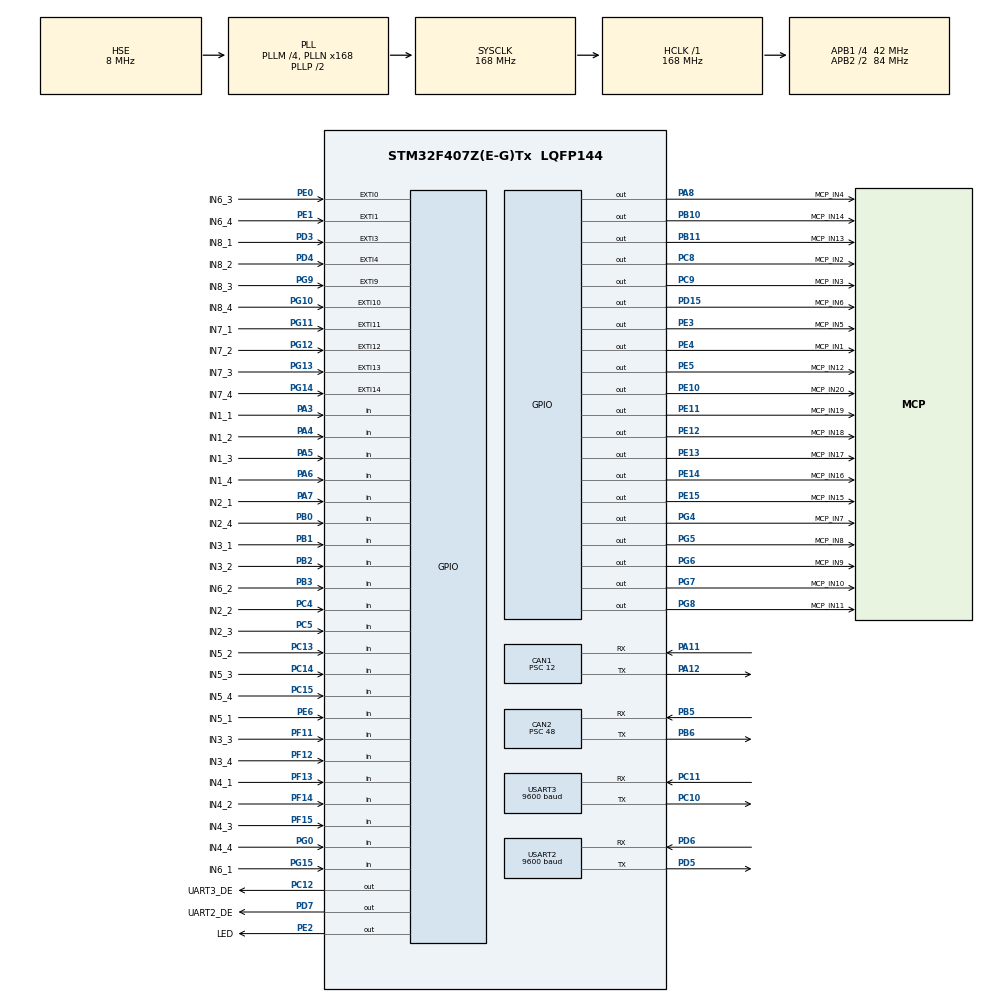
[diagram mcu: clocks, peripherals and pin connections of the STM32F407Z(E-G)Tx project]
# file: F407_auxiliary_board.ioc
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CAN1.BS1=CAN_BS1_3TQ
CAN1.BS2=CAN_BS2_3TQ
CAN1.CalculateBaudRate=500000
CAN1.CalculateTimeBit=2000
CAN1.CalculateTimeQuantum=285.7142857142857
CAN1.Prescaler=12
CAN1.SJW=CAN_SJW_3TQ
CAN2.BS1=CAN_BS1_3TQ
CAN2.BS2=CAN_BS2_3TQ
CAN2.CalculateBaudRate=125000
CAN2.CalculateTimeBit=8000
CAN2.CalculateTimeQuantum=1142.857142857143
CAN2.Prescaler=48
CAN2.SJW=CAN_SJW_3TQ
Dma.Request0=USART2_RX
Dma.Request1=USART3_RX
Dma.USART2_RX.0.Direction=DMA_PERIPH_TO_MEMORY
Dma.USART2_RX.0.FIFOMode=DMA_FIFOMODE_DISABLE
Dma.USART2_RX.0.Instance=DMA1_Stream5
Dma.USART2_RX.0.MemDataAlignment=DMA_MDATAALIGN_BYTE
Dma.USART2_RX.0.MemInc=DMA_MINC_ENABLE
Dma.USART2_RX.0.Mode=DMA_NORMAL
Dma.USART2_RX.0.PeriphDataAlignment=DMA_PDATAALIGN_BYTE
Dma.USART2_RX.0.PeriphInc=DMA_PINC_DISABLE
Dma.USART2_RX.0.Priority=DMA_PRIORITY_LOW
Dma.USART3_RX.1.Direction=DMA_PERIPH_TO_MEMORY
Dma.USART3_RX.1.FIFOMode=DMA_FIFOMODE_DISABLE
Dma.USART3_RX.1.Instance=DMA1_Stream1
Dma.USART3_RX.1.MemDataAlignment=DMA_MDATAALIGN_BYTE
Dma.USART3_RX.1.MemInc=DMA_MINC_ENABLE
Dma.USART3_RX.1.Mode=DMA_NORMAL
Dma.USART3_RX.1.PeriphDataAlignment=DMA_PDATAALIGN_BYTE
Dma.USART3_RX.1.PeriphInc=DMA_PINC_DISABLE
Dma.USART3_RX.1.Priority=DMA_PRIORITY_LOW
FREERTOS.Tasks01=defaultTask,24,128,StartDefaultTask,Default,NULL,Dynamic,NULL,NULL
Mcu.Family=STM32F4
Mcu.Name=STM32F407Z(E-G)Tx
Mcu.Package=LQFP144
NVIC.CAN1_RX0_IRQn=true\:5\:0\:false\:false\:true\:true\:true\:true\:true
NVIC.CAN2_RX1_IRQn=true\:5\:0\:false\:false\:true\:true\:true\:true\:true
NVIC.DMA1_Stream1_IRQn=true\:5\:0\:false\:false\:true\:true\:false\:true\:true
NVIC.DMA1_Stream5_IRQn=true\:5\:0\:false\:false\:true\:true\:false\:true\:true
NVIC.EXTI0_IRQn=true\:5\:0\:false\:false\:true\:true\:true\:true\:true
NVIC.EXTI15_10_IRQn=true\:5\:0\:false\:false\:true\:true\:true\:true\:true
NVIC.EXTI1_IRQn=true\:5\:0\:false\:false\:true\:true\:true\:true\:true
NVIC.EXTI3_IRQn=true\:5\:0\:false\:false\:true\:true\:true\:true\:true
NVIC.EXTI4_IRQn=true\:5\:0\:false\:false\:true\:true\:true\:true\:true
NVIC.EXTI9_5_IRQn=true\:5\:0\:false\:false\:true\:true\:true\:true\:true
NVIC.PriorityGroup=NVIC_PRIORITYGROUP_4
NVIC.TIM5_IRQn=true\:15\:0\:true\:false\:true\:false\:false\:true\:true
NVIC.TIM6_DAC_IRQn=true\:6\:0\:true\:false\:true\:true\:true\:true\:true
NVIC.TIM7_IRQn=true\:15\:0\:true\:false\:true\:true\:true\:true\:true
NVIC.TimeBase=TIM5_IRQn
NVIC.TimeBaseIP=TIM5
NVIC.USART2_IRQn=true\:5\:0\:false\:false\:true\:true\:true\:true\:true
NVIC.USART3_IRQn=true\:5\:0\:false\:false\:true\:true\:true\:true\:true
PA11.GPIO_PuPd=GPIO_PULLUP
PA11.Mode=CAN_Activate
PA11.Signal=CAN1_RX
PA12.GPIO_PuPd=GPIO_PULLUP
PA12.Mode=CAN_Activate
PA12.Signal=CAN1_TX
PA13.Mode=Serial_Wire
PA13.Signal=SYS_JTMS-SWDIO
PA14.Mode=Serial_Wire
PA14.Signal=SYS_JTCK-SWCLK
PA3.GPIO_Label=IN1_1
PA3.GPIO_PuPd=GPIO_PULLUP
PA3.Signal=GPIO_Input
PA4.GPIO_Label=IN1_2
PA4.GPIO_PuPd=GPIO_PULLUP
PA4.Signal=GPIO_Input
PA5.GPIO_Label=IN1_3
PA5.GPIO_PuPd=GPIO_PULLUP
PA5.Signal=GPIO_Input
PA6.GPIO_Label=IN1_4
PA6.GPIO_PuPd=GPIO_PULLUP
PA6.Signal=GPIO_Input
PA7.GPIO_Label=IN2_1
PA7.GPIO_PuPd=GPIO_PULLUP
PA7.Signal=GPIO_Input
PA8.GPIO_Label=MCP_IN4
PA8.GPIO_PuPd=GPIO_PULLDOWN
PA8.Signal=GPIO_Output
PB0.GPIO_Label=IN2_4
PB0.GPIO_PuPd=GPIO_PULLUP
PB0.Signal=GPIO_Input
PB1.GPIO_Label=IN3_1
PB1.Signal=GPIO_Input
PB10.GPIO_Label=MCP_IN14
PB10.GPIO_PuPd=GPIO_PULLUP
PB10.Signal=GPIO_Output
PB11.GPIO_Label=MCP_IN13
PB11.GPIO_PuPd=GPIO_PULLUP
PB11.Signal=GPIO_Output
PB2.GPIO_Label=IN3_2
PB2.GPIO_PuPd=GPIO_PULLUP
PB2.Signal=GPIO_Input
PB3.GPIO_Label=IN6_2
PB3.GPIO_PuPd=GPIO_PULLUP
PB3.Signal=GPIO_Input
PB5.GPIO_PuPd=GPIO_PULLUP
PB5.Mode=CAN_Activate
PB5.Signal=CAN2_RX
PB6.GPIO_PuPd=GPIO_PULLUP
PB6.Mode=CAN_Activate
PB6.Signal=CAN2_TX
PC10.Mode=Asynchronous
PC10.Signal=USART3_TX
PC11.Mode=Asynchronous
PC11.Signal=USART3_RX
PC12.GPIO_Label=UART3_DE
PC12.Signal=GPIO_Output
PC13-ANTI_TAMP.GPIO_Label=IN5_2
PC13-ANTI_TAMP.GPIO_PuPd=GPIO_PULLUP
PC13-ANTI_TAMP.Signal=GPIO_Input
PC14-OSC32_IN.GPIO_Label=IN5_3
PC14-OSC32_IN.GPIO_PuPd=GPIO_PULLUP
PC14-OSC32_IN.Signal=GPIO_Input
PC15-OSC32_OUT.GPIO_Label=IN5_4
PC15-OSC32_OUT.GPIO_PuPd=GPIO_PULLUP
PC15-OSC32_OUT.Signal=GPIO_Input
PC4.GPIO_Label=IN2_2
PC4.GPIO_PuPd=GPIO_PULLUP
PC4.Signal=GPIO_Input
PC5.GPIO_Label=IN2_3
PC5.GPIO_PuPd=GPIO_PULLUP
PC5.Signal=GPIO_Input
PC8.GPIO_Label=MCP_IN2
PC8.GPIO_PuPd=GPIO_PULLDOWN
PC8.Signal=GPIO_Output
PC9.GPIO_Label=MCP_IN3
PC9.GPIO_PuPd=GPIO_PULLDOWN
PC9.Signal=GPIO_Output
PD15.GPIO_Label=MCP_IN6
PD15.GPIO_PuPd=GPIO_PULLDOWN
PD15.Signal=GPIO_Output
PD3.GPIO_Label=IN8_1
PD3.GPIO_ModeDefaultEXTI=GPIO_MODE_IT_FALLING
PD3.GPIO_PuPd=GPIO_PULLUP
PD3.Signal=GPXTI3
PD4.GPIO_Label=IN8_2
PD4.GPIO_ModeDefaultEXTI=GPIO_MODE_IT_FALLING
PD4.GPIO_PuPd=GPIO_PULLUP
PD4.Signal=GPXTI4
PD5.Mode=Asynchronous
PD5.Signal=USART2_TX
PD6.Mode=Asynchronous
PD6.Signal=USART2_RX
PD7.GPIO_Label=UART2_DE
PD7.Signal=GPIO_Output
PE0.GPIO_Label=IN6_3
PE0.GPIO_ModeDefaultEXTI=GPIO_MODE_IT_FALLING
PE0.GPIO_PuPd=GPIO_PULLUP
PE0.Signal=GPXTI0
PE1.GPIO_Label=IN6_4
PE1.GPIO_ModeDefaultEXTI=GPIO_MODE_IT_FALLING
PE1.GPIO_PuPd=GPIO_PULLUP
PE1.Signal=GPXTI1
PE10.GPIO_Label=MCP_IN20
PE10.GPIO_PuPd=GPIO_PULLUP
PE10.Signal=GPIO_Output
PE11.GPIO_Label=MCP_IN19
PE11.GPIO_PuPd=GPIO_PULLUP
PE11.Signal=GPIO_Output
PE12.GPIO_Label=MCP_IN18
PE12.GPIO_PuPd=GPIO_PULLUP
PE12.Signal=GPIO_Output
PE13.GPIO_Label=MCP_IN17
PE13.GPIO_PuPd=GPIO_PULLUP
PE13.Signal=GPIO_Output
PE14.GPIO_Label=MCP_IN16
PE14.GPIO_PuPd=GPIO_PULLUP
PE14.Signal=GPIO_Output
PE15.GPIO_Label=MCP_IN15
PE15.GPIO_PuPd=GPIO_PULLUP
PE15.Signal=GPIO_Output
PE2.GPIO_Label=LED
PE2.Signal=GPIO_Output
PE3.GPIO_Label=MCP_IN5
PE3.GPIO_PuPd=GPIO_PULLDOWN
PE3.Signal=GPIO_Output
PE4.GPIO_Label=MCP_IN1
PE4.GPIO_PuPd=GPIO_PULLDOWN
PE4.Signal=GPIO_Output
PE5.GPIO_Label=MCP_IN12
PE5.GPIO_PuPd=GPIO_PULLUP
PE5.Signal=GPIO_Output
PE6.GPIO_Label=IN5_1
PE6.GPIO_PuPd=GPIO_PULLUP
PE6.Signal=GPIO_Input
PF11.GPIO_Label=IN3_3
PF11.GPIO_PuPd=GPIO_PULLUP
PF11.Signal=GPIO_Input
PF12.GPIO_Label=IN3_4
PF12.GPIO_PuPd=GPIO_PULLUP
PF12.Signal=GPIO_Input
PF13.GPIO_Label=IN4_1
PF13.GPIO_PuPd=GPIO_PULLUP
PF13.Signal=GPIO_Input
PF14.GPIO_Label=IN4_2
PF14.GPIO_PuPd=GPIO_PULLUP
PF14.Signal=GPIO_Input
PF15.GPIO_Label=IN4_3
PF15.GPIO_PuPd=GPIO_PULLUP
PF15.Signal=GPIO_Input
PG0.GPIO_Label=IN4_4
PG0.GPIO_PuPd=GPIO_PULLUP
PG0.Signal=GPIO_Input
PG10.GPIO_Label=IN8_4
PG10.GPIO_ModeDefaultEXTI=GPIO_MODE_IT_FALLING
PG10.GPIO_PuPd=GPIO_PULLUP
PG10.Signal=GPXTI10
PG11.GPIO_Label=IN7_1
PG11.GPIO_ModeDefaultEXTI=GPIO_MODE_IT_FALLING
PG11.GPIO_PuPd=GPIO_PULLUP
PG11.Signal=GPXTI11
PG12.GPIO_Label=IN7_2
PG12.GPIO_ModeDefaultEXTI=GPIO_MODE_IT_FALLING
PG12.GPIO_PuPd=GPIO_PULLUP
PG12.Signal=GPXTI12
PG13.GPIO_Label=IN7_3
PG13.GPIO_ModeDefaultEXTI=GPIO_MODE_IT_FALLING
PG13.GPIO_PuPd=GPIO_PULLUP
PG13.Signal=GPXTI13
PG14.GPIO_Label=IN7_4
PG14.GPIO_ModeDefaultEXTI=GPIO_MODE_IT_FALLING
PG14.GPIO_PuPd=GPIO_PULLUP
PG14.Signal=GPXTI14
PG15.GPIO_Label=IN6_1
PG15.GPIO_PuPd=GPIO_PULLUP
PG15.Signal=GPIO_Input
PG4.GPIO_Label=MCP_IN7
PG4.GPIO_PuPd=GPIO_PULLDOWN
PG4.Signal=GPIO_Output
PG5.GPIO_Label=MCP_IN8
PG5.GPIO_PuPd=GPIO_PULLDOWN
PG5.Signal=GPIO_Output
PG6.GPIO_Label=MCP_IN9
PG6.GPIO_PuPd=GPIO_PULLDOWN
PG6.Signal=GPIO_Output
PG7.GPIO_Label=MCP_IN10
PG7.GPIO_PuPd=GPIO_PULLDOWN
PG7.Signal=GPIO_Output
PG8.GPIO_Label=MCP_IN11
PG8.GPIO_PuPd=GPIO_PULLDOWN
PG8.Signal=GPIO_Output
PG9.GPIO_Label=IN8_3
PG9.GPIO_ModeDefaultEXTI=GPIO_MODE_IT_FALLING
PG9.GPIO_PuPd=GPIO_PULLUP
PG9.Signal=GPXTI9
PH0-OSC_IN.Mode=HSE-External-Oscillator
PH0-OSC_IN.Signal=RCC_OSC_IN
PH1-OSC_OUT.Mode=HSE-External-Oscillator
PH1-OSC_OUT.Signal=RCC_OSC_OUT
ProjectManager.HeapSize=0x200
ProjectManager.StackSize=0x400
ProjectManager.TargetToolchain=MDK-ARM V5.32
RCC.48MHZClocksFreq_Value=84000000
RCC.AHBFreq_Value=168000000
RCC.APB1CLKDivider=RCC_HCLK_DIV4
RCC.APB1Freq_Value=42000000
RCC.APB1TimFreq_Value=84000000
RCC.APB2CLKDivider=RCC_HCLK_DIV2
RCC.APB2Freq_Value=84000000
RCC.APB2TimFreq_Value=168000000
RCC.CortexFreq_Value=168000000
RCC.HCLKFreq_Value=168000000
RCC.HSE_VALUE=8000000
RCC.HSI_VALUE=16000000
RCC.LSE_VALUE=32768
RCC.PLLM=4
RCC.PLLN=168
RCC.PLLSourceVirtual=RCC_PLLSOURCE_HSE
RCC.SYSCLKFreq_VALUE=168000000
RCC.SYSCLKSource=RCC_SYSCLKSOURCE_PLLCLK
RCC.VCOOutputFreq_Value=336000000
TIM6.Period=199
TIM6.Prescaler=8399
TIM7.AutoReloadPreload=TIM_AUTORELOAD_PRELOAD_ENABLE
TIM7.Period=4999
TIM7.Prescaler=8399
USART2.BaudRate=9600
USART2.VirtualMode=VM_ASYNC
USART3.BaudRate=9600
USART3.VirtualMode=VM_ASYNC
VP_FREERTOS_VS_CMSIS_V2.Mode=CMSIS_V2
VP_SYS_VS_tim5.Mode=TIM5
VP_TIM6_VS_ClockSourceINT.Mode=Enable_Timer
VP_TIM7_VS_ClockSourceINT.Mode=Enable_Timer
board=custom

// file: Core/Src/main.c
/* USER CODE BEGIN Header */
/**
  ******************************************************************************
  * @file           : main.c
  * @brief          : Main program body
  ******************************************************************************
  * @attention
  *
  * Copyright (c) 2026 STMicroelectronics.
  * All rights reserved.
  *
  * This software is licensed under terms that can be found in the LICENSE file
  * in the root directory of this software component.
  * If no LICENSE file comes with this software, it is provided AS-IS.
  *
  ******************************************************************************
  */
/* USER CODE END Header */
#include "main.h"
#include "cmsis_os.h"
#include "can.h"
#include "dma.h"
#include "tim.h"
#include "usart.h"
#include "gpio.h"

/* USER CODE BEGIN Includes */
#include "elog.h"
#include "canfliter_init.h"
#include "checksum.h"
/* USER CODE END Includes */

void SystemClock_Config(void);
void MX_FREERTOS_Init(void);

/* USER CODE BEGIN 0 */
IO_OUTPUT_CONTROL_t IO_OUTPUT_CONTROL[17] = {
  {MCP_IN1_GPIO_Port, MCP_IN1_Pin},        //门升降气缸       0
  {MCP_IN2_GPIO_Port, MCP_IN2_Pin},        //三色灯——红       1
  {MCP_IN3_GPIO_Port, MCP_IN3_Pin},        //三色灯——黄       2
  {MCP_IN4_GPIO_Port, MCP_IN4_Pin},        //三色灯——绿       3
  {MCP_IN5_GPIO_Port, MCP_IN5_Pin},        //隔膜泵           4
  {MCP_IN6_GPIO_Port, MCP_IN6_Pin},        //探头升降气缸     5
  {MCP_IN7_GPIO_Port, MCP_IN7_Pin},        //门升降气缸       6
  {MCP_IN8_GPIO_Port, MCP_IN8_Pin},        //1号通断阀        7
  {MCP_IN9_GPIO_Port, MCP_IN9_Pin},        //2号通断阀        8
  {MCP_IN10_GPIO_Port, MCP_IN10_Pin},      //3号通断阀        9
  {MCP_IN11_GPIO_Port, MCP_IN11_Pin},      //4号通断阀        10
  {MCP_IN12_GPIO_Port, MCP_IN12_Pin},      //5号通断阀        11
  {MCP_IN13_GPIO_Port, MCP_IN13_Pin},      //6号通断阀        12
  {MCP_IN14_GPIO_Port, MCP_IN14_Pin},      //7号通断阀        13
  {MCP_IN15_GPIO_Port, MCP_IN15_Pin},      //8号通断阀        14
  {MCP_IN16_GPIO_Port, MCP_IN16_Pin},      //9号通断阀        15
  {MCP_IN17_GPIO_Port, MCP_IN17_Pin},      //10号通断阀       16
};

IO_OUTPUT_CONTROL_t IO_Input_Read[22] = {
  {IN1_1_GPIO_Port, IN1_1_Pin},        //原液瓶1低液位传感器     0
  {IN1_2_GPIO_Port, IN1_2_Pin},        //原液瓶2低液位传感器     1
  {IN1_3_GPIO_Port, IN1_3_Pin},        //原液瓶3低液位传感器     2
  {IN1_4_GPIO_Port, IN1_4_Pin},        //原液瓶4低液位传感器     3
  {IN2_1_GPIO_Port, IN2_1_Pin},        //原液瓶5低液位传感器     4
  {IN2_2_GPIO_Port, IN2_2_Pin},        //原液瓶6低液位传感器     5
  {IN2_3_GPIO_Port, IN2_3_Pin},        //原液瓶7低液位传感器     6
  {IN2_4_GPIO_Port, IN2_4_Pin},        //原液瓶8低液位传感器     7
  {IN3_1_GPIO_Port, IN3_1_Pin},        //原液瓶9低液位传感器     8
  {IN3_2_GPIO_Port, IN3_2_Pin},        //原液瓶10低液位传感器    9
  {IN3_3_GPIO_Port, IN3_3_Pin},        //加液位1液位传感器       10
  {IN3_4_GPIO_Port, IN3_4_Pin},        //加液位2液位传感器       11
  {IN4_1_GPIO_Port, IN4_1_Pin},        //存放区液位传感器        12
  {IN4_2_GPIO_Port, IN4_2_Pin},        //门开到位                13
  {IN4_3_GPIO_Port, IN4_3_Pin},        //门关到位                14
  {IN4_4_GPIO_Port, IN4_4_Pin},        //X轴左到位              15
  {IN5_1_GPIO_Port, IN5_1_Pin},        //X轴右到位              16
  {IN5_2_GPIO_Port, IN5_2_Pin},        //X轴原点                17
	{IN5_3_GPIO_Port, IN5_3_Pin},        //加液位1有瓶             18
  {IN5_4_GPIO_Port, IN5_4_Pin},        //加液位2有瓶             19
  {IN6_1_GPIO_Port, IN6_1_Pin},        //探头升降伸到位          20
  {IN6_2_GPIO_Port, IN6_2_Pin},        //探头升降回到位          21
};

void Auxiluary_IO_CONTROL(IO_CONTROL_TypeDef index, uint8_t state)
{

    HAL_GPIO_WritePin(IO_OUTPUT_CONTROL[index].GPIOx, IO_OUTPUT_CONTROL[index].GPIO_Pin,(GPIO_PinState)state);
}

uint8_t Auxiluary_Input_Read(IO_Input_TypeDef index)
{

    return HAL_GPIO_ReadPin(IO_Input_Read[index].GPIOx, IO_Input_Read[index].GPIO_Pin);
}

/* USER CODE END 0 */

int main(void)
 {

  /* MCU Configuration--------------------------------------------------------*/

  /* Reset of all peripherals, Initializes the Flash interface and the Systick. */
  HAL_Init();

  /* Configure the system clock */
  SystemClock_Config();

  /* Initialize all configured peripherals */
  MX_GPIO_Init();
  MX_DMA_Init();
  MX_CAN1_Init();
  MX_CAN2_Init();
  MX_USART2_UART_Init();
  MX_USART3_UART_Init();
  MX_TIM6_Init();
  MX_TIM7_Init();
  /* USER CODE BEGIN 2 */
	canfilter_init();
	app_elog_init();

  //关闭exti中断
  HAL_NVIC_DisableIRQ(EXTI0_IRQn);
  HAL_NVIC_DisableIRQ(EXTI1_IRQn);
  HAL_NVIC_DisableIRQ(EXTI3_IRQn);
  HAL_NVIC_DisableIRQ(EXTI4_IRQn);
  HAL_NVIC_DisableIRQ(EXTI9_5_IRQn);
  HAL_NVIC_DisableIRQ(EXTI15_10_IRQn);

//	CAN_TxHeaderTypeDef tx;
//
//	tx.DLC = 8;
//	tx.IDE = CAN_RTR_DATA;
//	tx.RTR = CAN_ID_STD;
//	tx.StdId = 0x01;
//	HAL_StatusTypeDef ret;
//  uint8_t data[8] = {1,2,3,4,5,6,7,8};
//  HAL_UART_Transmit(&huart3,data,8,1000);

  /* USER CODE END 2 */

  /* Init scheduler */
  osKernelInitialize();  /* Call init function for freertos objects (in cmsis_os2.c) */
  MX_FREERTOS_Init();

  /* Start scheduler */
  osKernelStart();

  /* We should never get here as control is now taken by the scheduler */

  /* Infinite loop */
  while (1)
  {

    /* USER CODE BEGIN 3 */
    int i = Auxiluary_Input_Read(add_liquid_2_bottle);
    log_d("i= %d\r\n",i);
    HAL_Delay(1000);
  }
  /* USER CODE END 3 */
}

void SystemClock_Config(void)
{
  RCC_OscInitTypeDef RCC_OscInitStruct = {0};
  RCC_ClkInitTypeDef RCC_ClkInitStruct = {0};

  /** Configure the main internal regulator output voltage
  */
  __HAL_RCC_PWR_CLK_ENABLE();
  __HAL_PWR_VOLTAGESCALING_CONFIG(PWR_REGULATOR_VOLTAGE_SCALE1);

  /** Initializes the RCC Oscillators according to the specified parameters
  * in the RCC_OscInitTypeDef structure.
  */
  RCC_OscInitStruct.OscillatorType = RCC_OSCILLATORTYPE_HSE;
  RCC_OscInitStruct.HSEState = RCC_HSE_ON;
  RCC_OscInitStruct.PLL.PLLState = RCC_PLL_ON;
  RCC_OscInitStruct.PLL.PLLSource = RCC_PLLSOURCE_HSE;
  RCC_OscInitStruct.PLL.PLLM = 4;
  RCC_OscInitStruct.PLL.PLLN = 168;
  RCC_OscInitStruct.PLL.PLLP = RCC_PLLP_DIV2;
  RCC_OscInitStruct.PLL.PLLQ = 4;
  if (HAL_RCC_OscConfig(&RCC_OscInitStruct) != HAL_OK)
  {
    Error_Handler();
  }

  /** Initializes the CPU, AHB and APB buses clocks
  */
  RCC_ClkInitStruct.ClockType = RCC_CLOCKTYPE_HCLK|RCC_CLOCKTYPE_SYSCLK
                              |RCC_CLOCKTYPE_PCLK1|RCC_CLOCKTYPE_PCLK2;
  RCC_ClkInitStruct.SYSCLKSource = RCC_SYSCLKSOURCE_PLLCLK;
  RCC_ClkInitStruct.AHBCLKDivider = RCC_SYSCLK_DIV1;
  RCC_ClkInitStruct.APB1CLKDivider = RCC_HCLK_DIV4;
  RCC_ClkInitStruct.APB2CLKDivider = RCC_HCLK_DIV2;

  if (HAL_RCC_ClockConfig(&RCC_ClkInitStruct, FLASH_LATENCY_5) != HAL_OK)
  {
    Error_Handler();
  }
}

/* USER CODE BEGIN 4 */
extern uint8_t jslz_onebus_tim1_callback(TIM_HandleTypeDef *htim);
extern void jslz_onebus_tim2_callback(TIM_HandleTypeDef *htim);

/* USER CODE END 4 */

void HAL_TIM_PeriodElapsedCallback(TIM_HandleTypeDef *htim)
{
  if (htim->Instance == TIM5)
  {
    HAL_IncTick();
  }
  /* USER CODE BEGIN Callback 1 */
  if(htim->Instance == TIM6)
  {
      jslz_onebus_tim1_callback(htim);
  }
  else if(htim->Instance == TIM7)
  {
      jslz_onebus_tim2_callback(htim);
  }

  /* USER CODE END Callback 1 */
}

void Error_Handler(void)
{
  __disable_irq();
  while (1)
  {
  }
}

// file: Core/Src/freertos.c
/* USER CODE BEGIN Header */
/**
  ******************************************************************************
  * File Name          : freertos.c
  * Description        : Code for freertos applications
  ******************************************************************************
  * @attention
  *
  * Copyright (c) 2026 STMicroelectronics.
  * All rights reserved.
  *
  * This software is licensed under terms that can be found in the LICENSE file
  * in the root directory of this software component.
  * If no LICENSE file comes with this software, it is provided AS-IS.
  *
  ******************************************************************************
  */
/* USER CODE END Header */

#include "FreeRTOS.h"
#include "task.h"
#include "main.h"
#include "cmsis_os.h"

/* USER CODE BEGIN Includes */
#include "app_init.h"
#include "can.h"
/* USER CODE END Includes */

/* Definitions for defaultTask */
osThreadId_t defaultTaskHandle;
const osThreadAttr_t defaultTask_attributes = {
  .name = "defaultTask",
  .stack_size = 128 * 4,
  .priority = (osPriority_t) osPriorityNormal,
};

/* USER CODE BEGIN FunctionPrototypes */
static uint8_t CAN1_Transimit(uint8_t ID, void *data);
/* USER CODE END FunctionPrototypes */

void StartDefaultTask(void *argument);

void MX_FREERTOS_Init(void); /* (MISRA C 2004 rule 8.1) */

void MX_FREERTOS_Init(void) {

  /* Create the thread(s) */
  /* creation of defaultTask */
  defaultTaskHandle = osThreadNew(StartDefaultTask, NULL, &defaultTask_attributes);

  /* USER CODE BEGIN RTOS_THREADS */
  /* add threads, ... */
	APP_Init();
  /* USER CODE END RTOS_THREADS */

}

void StartDefaultTask(void *argument)
{
  /* USER CODE BEGIN StartDefaultTask */
    uint8_t pdata[8] = {0xff,0xff,0xff,0xff,0xff,0xff,0xff,0xff};
    int i;
    uint8_t ret;
    /* Infinite loop */
    for(;;)
    {
          HAL_GPIO_TogglePin(LED_GPIO_Port,LED_Pin);

          memset(&pdata[5],0,3);

          for(i = 0; i < 22; i++)
          {
              if(!Auxiluary_Input_Read(i))
              {
                  if(0 <= i && i < 8)
                      pdata[7] |= 0x01 << i;
                  if(8 <= i && i < 16)
                      pdata[6] |= 0x01 << (i - 8);
                  if(16 <= i && i < 22)
                      pdata[5] |= 0x01 << (i - 16);
              }
          }

          ret = CAN1_Transimit(0x12, pdata);
          if(ret)
          {
              log_d("CAN1 Transimit failed\r\n");
          }

      osDelay(1000);
    }
  /* USER CODE END StartDefaultTask */
}

/* USER CODE BEGIN Application */
static uint8_t CAN1_Transimit(uint8_t ID, void *data)
{
    /*    define return status          */
    uint8_t ret;
		uint32_t tx_mailbox = 0;
    uint32_t time = 10;

    CAN_TxHeaderTypeDef tx_header = {0};
    tx_header.StdId = (uint32_t)ID;
    tx_header.IDE = CAN_ID_STD;
    tx_header.RTR = CAN_RTR_DATA;
    tx_header.DLC = 8 ;

    //等待1s发送邮箱为空
    while(time--)
    {
        if(HAL_CAN_GetTxMailboxesFreeLevel(&hcan1) > 0)
        {
            break;
        }
        osDelay(100);
    }
    if(time == 0)
    {
        ret = 1;
        return ret;
    }

    if(HAL_OK != HAL_CAN_AddTxMessage(&hcan1, &tx_header, data, &tx_mailbox))
    {
        ret = 1;
			return ret;
    }

    return 0;
}
/* USER CODE END Application */
